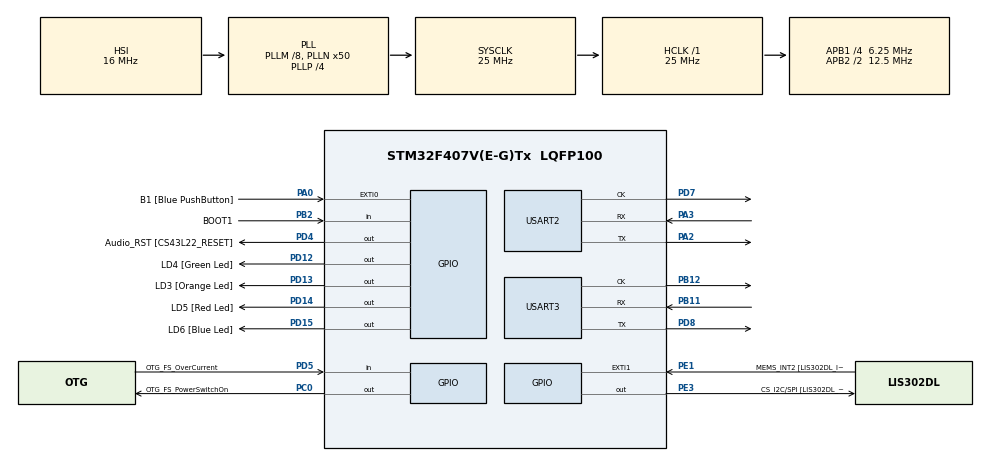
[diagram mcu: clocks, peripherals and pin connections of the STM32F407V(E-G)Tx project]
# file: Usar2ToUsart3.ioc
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Mcu.Family=STM32F4
Mcu.Name=STM32F407V(E-G)Tx
Mcu.Package=LQFP100
NVIC.PriorityGroup=NVIC_PRIORITYGROUP_0
PA0-WKUP.GPIO_Label=B1 [Blue PushButton]
PA0-WKUP.Signal=GPXTI0
PA10.GPIO_Label=OTG_FS_ID
PA10.GPIO_Mode=GPIO_MODE_AF_PP
PA10.GPIO_PuPd=GPIO_NOPULL
PA10.GPIO_Speed=GPIO_SPEED_FREQ_LOW
PA10.Signal=USB_OTG_FS_ID
PA11.GPIO_Label=OTG_FS_DM
PA11.GPIO_Mode=GPIO_MODE_AF_PP
PA11.GPIO_PuPd=GPIO_NOPULL
PA11.GPIO_Speed=GPIO_SPEED_FREQ_LOW
PA11.Signal=USB_OTG_FS_DM
PA12.GPIO_Label=OTG_FS_DP
PA12.GPIO_Mode=GPIO_MODE_AF_PP
PA12.GPIO_PuPd=GPIO_NOPULL
PA12.GPIO_Speed=GPIO_SPEED_FREQ_LOW
PA12.Signal=USB_OTG_FS_DP
PA13.GPIO_Label=SWDIO
PA13.Signal=SYS_JTMS-SWDIO
PA14.GPIO_Label=SWCLK
PA14.Signal=SYS_JTCK-SWCLK
PA2.Mode=Synchronous
PA2.Signal=USART2_TX
PA3.Mode=Synchronous
PA3.Signal=USART2_RX
PA4.GPIO_Label=I2S3_WS [CS43L22_LRCK]
PA4.GPIO_Mode=GPIO_MODE_AF_PP
PA4.GPIO_PuPd=GPIO_NOPULL
PA4.GPIO_Speed=GPIO_SPEED_FREQ_LOW
PA4.Signal=I2S3_WS
PA5.GPIO_Label=SPI1_SCK [LIS302DL_SCL/SPC]
PA5.GPIO_Mode=GPIO_MODE_AF_PP
PA5.GPIO_PuPd=GPIO_NOPULL
PA5.GPIO_Speed=GPIO_SPEED_FREQ_LOW
PA5.Signal=SPI1_SCK
PA6.GPIO_Label=SPI1_MISO [LIS302DL_SDO]
PA6.GPIO_Mode=GPIO_MODE_AF_PP
PA6.GPIO_PuPd=GPIO_NOPULL
PA6.GPIO_Speed=GPIO_SPEED_FREQ_LOW
PA6.Signal=SPI1_MISO
PA7.GPIO_Label=SPI1_MOSI [LIS302DL_SDA/SDI/SDO]
PA7.GPIO_Mode=GPIO_MODE_AF_PP
PA7.GPIO_PuPd=GPIO_NOPULL
PA7.GPIO_Speed=GPIO_SPEED_FREQ_LOW
PA7.Signal=SPI1_MOSI
PA9.GPIO_Label=VBUS_FS
PA9.GPIO_Mode=GPIO_MODE_INPUT
PA9.GPIO_PuPd=GPIO_NOPULL
PA9.Signal=USB_OTG_FS_VBUS
PB10.GPIO_Label=CLK_IN [MP45DT02_CLK]
PB10.GPIO_Mode=GPIO_MODE_AF_PP
PB10.GPIO_PuPd=GPIO_NOPULL
PB10.GPIO_Speed=GPIO_SPEED_FREQ_LOW
PB10.Signal=I2S2_CK
PB11.Mode=Synchronous
PB11.Signal=USART3_RX
PB12.Mode=Synchronous
PB12.Signal=USART3_CK
PB2.GPIO_Label=BOOT1
PB2.GPIO_Mode=GPIO_MODE_INPUT
PB2.GPIO_PuPd=GPIO_NOPULL
PB2.Signal=GPIO_Input
PB3.GPIO_Label=SWO
PB3.Signal=SYS_JTDO-SWO
PB6.GPIO_Label=Audio_SCL [CS43L22_SCL]
PB6.GPIO_Mode=GPIO_MODE_AF_OD
PB6.GPIO_PuPd=GPIO_NOPULL
PB6.GPIO_Speed=GPIO_SPEED_FREQ_LOW
PB6.Signal=I2C1_SCL
PB9.GPIO_Label=Audio_SDA [CS43L22_SDA]
PB9.GPIO_Mode=GPIO_MODE_AF_OD
PB9.GPIO_PuPd=GPIO_NOPULL
PB9.GPIO_Speed=GPIO_SPEED_FREQ_LOW
PB9.Signal=I2C1_SDA
PC0.GPIO_Label=OTG_FS_PowerSwitchOn
PC0.GPIO_PuPd=GPIO_NOPULL
PC0.GPIO_Speed=GPIO_SPEED_FREQ_LOW
PC0.PinState=GPIO_PIN_SET
PC0.Signal=GPIO_Output
PC10.GPIO_Label=I2S3_SCK [CS43L22_SCLK]
PC10.GPIO_Mode=GPIO_MODE_AF_PP
PC10.GPIO_PuPd=GPIO_NOPULL
PC10.GPIO_Speed=GPIO_SPEED_FREQ_LOW
PC10.Signal=I2S3_CK
PC12.GPIO_Label=I2S3_SD [CS43L22_SDIN]
PC12.GPIO_Mode=GPIO_MODE_AF_PP
PC12.GPIO_PuPd=GPIO_NOPULL
PC12.GPIO_Speed=GPIO_SPEED_FREQ_LOW
PC12.Signal=I2S3_SD
PC14-OSC32_IN.GPIO_Label=PC14-OSC32_IN
PC14-OSC32_IN.Signal=RCC_OSC32_IN
PC15-OSC32_OUT.GPIO_Label=PC15-OSC32_OUT
PC15-OSC32_OUT.Signal=RCC_OSC32_OUT
PC3.GPIO_Label=PDM_OUT [MP45DT02_DOUT]
PC3.GPIO_Mode=GPIO_MODE_AF_PP
PC3.GPIO_PuPd=GPIO_NOPULL
PC3.GPIO_Speed=GPIO_SPEED_FREQ_LOW
PC3.Signal=I2S2_SD
PC7.GPIO_Label=I2S3_MCK [CS43L22_MCLK]
PC7.GPIO_Mode=GPIO_MODE_AF_PP
PC7.GPIO_PuPd=GPIO_NOPULL
PC7.GPIO_Speed=GPIO_SPEED_FREQ_LOW
PC7.Signal=I2S3_MCK
PD12.GPIO_Label=LD4 [Green Led]
PD12.GPIO_PuPd=GPIO_NOPULL
PD12.GPIO_Speed=GPIO_SPEED_FREQ_LOW
PD12.Signal=GPIO_Output
PD13.GPIO_Label=LD3 [Orange Led]
PD13.GPIO_PuPd=GPIO_NOPULL
PD13.GPIO_Speed=GPIO_SPEED_FREQ_LOW
PD13.Signal=GPIO_Output
PD14.GPIO_Label=LD5 [Red Led]
PD14.GPIO_PuPd=GPIO_NOPULL
PD14.GPIO_Speed=GPIO_SPEED_FREQ_LOW
PD14.Signal=GPIO_Output
PD15.GPIO_Label=LD6 [Blue Led]
PD15.GPIO_PuPd=GPIO_NOPULL
PD15.GPIO_Speed=GPIO_SPEED_FREQ_LOW
PD15.Signal=GPIO_Output
PD4.GPIO_Label=Audio_RST [CS43L22_RESET]
PD4.GPIO_PuPd=GPIO_NOPULL
PD4.GPIO_Speed=GPIO_SPEED_FREQ_LOW
PD4.Signal=GPIO_Output
PD5.GPIO_Label=OTG_FS_OverCurrent
PD5.GPIO_Mode=GPIO_MODE_INPUT
PD5.GPIO_PuPd=GPIO_NOPULL
PD5.Signal=GPIO_Input
PD7.Mode=Synchronous
PD7.Signal=USART2_CK
PD8.Mode=Synchronous
PD8.Signal=USART3_TX
PE1.GPIO_Label=MEMS_INT2 [LIS302DL_INT2]
PE1.GPIO_ModeDefaultEXTI=GPIO_MODE_EVT_RISING
PE1.GPIO_PuPd=GPIO_NOPULL
PE1.Signal=GPXTI1
PE3.GPIO_Label=CS_I2C/SPI [LIS302DL_CS_I2C/SPI]
PE3.GPIO_PuPd=GPIO_NOPULL
PE3.GPIO_Speed=GPIO_SPEED_FREQ_LOW
PE3.Signal=GPIO_Output
PH0-OSC_IN.GPIO_Label=PH0-OSC_IN
PH0-OSC_IN.Signal=RCC_OSC_IN
PH1-OSC_OUT.GPIO_Label=PH1-OSC_OUT
PH1-OSC_OUT.Signal=RCC_OSC_OUT
ProjectManager.HeapSize=0x200
ProjectManager.StackSize=0x400
ProjectManager.TargetToolchain=MDK-ARM V5.32
RCC.48MHZClocksFreq_Value=14285714.285714285
RCC.AHBFreq_Value=25000000
RCC.APB1CLKDivider=RCC_HCLK_DIV4
RCC.APB1Freq_Value=6250000
RCC.APB1TimFreq_Value=12500000
RCC.APB2CLKDivider=RCC_HCLK_DIV2
RCC.APB2Freq_Value=12500000
RCC.APB2TimFreq_Value=25000000
RCC.CortexFreq_Value=25000000
RCC.HCLKFreq_Value=25000000
RCC.HSE_VALUE=8000000
RCC.HSI_VALUE=16000000
RCC.LSE_VALUE=32768
RCC.PLLM=8
RCC.PLLN=50
RCC.PLLP=RCC_PLLP_DIV4
RCC.PLLQ=7
RCC.SYSCLKFreq_VALUE=25000000
RCC.SYSCLKSource=RCC_SYSCLKSOURCE_PLLCLK
RCC.VCOOutputFreq_Value=100000000
USART2.VirtualMode=VM_SYNC
USART3.VirtualMode=VM_SYNC
board=STM32F407G-DISC1

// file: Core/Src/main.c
/* USER CODE BEGIN Header */
/**
  ******************************************************************************
  * @file           : main.c
  * @brief          : Main program body
  ******************************************************************************
  * @attention
  *
  * Copyright (c) 2024 STMicroelectronics.
  * All rights reserved.
  *
  * This software is licensed under terms that can be found in the LICENSE file
  * in the root directory of this software component.
  * If no LICENSE file comes with this software, it is provided AS-IS.
  *
  ******************************************************************************
  */
/* USER CODE END Header */
#include "main.h"

/* USER CODE BEGIN Includes */
#include "string.h"
/* USER CODE END Includes */

USART_HandleTypeDef husart2;
USART_HandleTypeDef husart3;
/* USER CODE BEGIN PV */
const uint32_t tbuf_size = 16;
char tbuf[tbuf_size];
volatile int tpos=-1;
uint8_t testNumber = 0;
/* USER CODE END PV */

void SystemClock_Config(void);
static void MX_GPIO_Init(void);
static void MX_USART2_Init(void);
static void MX_USART3_Init(void);
uint32_t send_str(const char *str);
void on_led_str(const char *str);
void USART2_SendString(const char *str);

/* USER CODE BEGIN 0 */
uint32_t send_str(const char *str) {

	if(tpos >= 0) {
		return 0;
	}
	uint32_t len = strlen(str);
	if(len >= tbuf_size)
	{
		len= tbuf_size-1;
		memcpy(tbuf, str, len);
		tbuf[len]=0;
		USART2->CR1 |= USART_CR1_TXEIE;
		return len-+1;
	}
}

void on_led_str(const char *str) {
		if(strcmp(str, "On Led") == 0) {
			HAL_GPIO_TogglePin(GPIOD, GPIO_PIN_15);
			//HAL_GPIO_WritePin(GPIOD, GPIO_PIN_15, GPIO_PIN_SET);
		} else {
			HAL_GPIO_WritePin(GPIOD, GPIO_PIN_15, GPIO_PIN_RESET);
		}
}

void USART2_IRQHandler() {
	const uint32_t rbuf_size=16;
	static char rbuf[rbuf_size];
	static uint32_t pos = 0;

	uint16_t sr=USART2->SR;

	if(sr & USART_SR_RXNE) { // if symbol input true
		rbuf[pos]= USART2->DR;
		if(pos==rbuf_size) {
				rbuf[pos] = 0;
		}
		if (rbuf[pos] == 0) {
			pos = 0;
			on_led_str(rbuf);
			// TODO func TX output sugnal
		} else {
			pos++;
		}
	}
//	if() {
//
//	}
}

void USART2_SendString(const char *str) {
	while(*str) {
		while(!(USART2->SR & USART_SR_TXE));
		USART2->DR = *str++;
	}
}
/* USER CODE END 0 */

int main(void)
{
  /* USER CODE BEGIN 1 */
	RCC->APB1ENR |= RCC_APB1ENR_USART2EN;
	USART2->CR1 = USART_CR1_UE;
	USART2->CR1 |= USART_CR1_TE;
	USART2->CR1 |= USART_CR1_TE | USART_CR1_RE | USART_CR1_RXNEIE;
  /* USER CODE END 1 */

  /* MCU Configuration--------------------------------------------------------*/

  /* Reset of all peripherals, Initializes the Flash interface and the Systick. */
  HAL_Init();

  /* Configure the system clock */
  SystemClock_Config();

  /* Initialize all configured peripherals */
  MX_GPIO_Init();
  MX_USART2_Init();
  MX_USART3_Init();
  /* USER CODE BEGIN 2 */
	//USART2_SendString("On Led");
	//USART2_IRQHandler();
  /* USER CODE END 2 */

  /* Infinite loop */
  /* USER CODE BEGIN WHILE */
  while (1)
  {
		while(!(USART2->SR & USART_SR_TXE));
		USART2->DR = 1;
    /* USER CODE END WHILE */

    /* USER CODE BEGIN 3 */
		testNumber = USART2->DR;
		if(testNumber == 1) {
			HAL_GPIO_WritePin(GPIOD, GPIO_PIN_13, GPIO_PIN_SET);
		}
		HAL_Delay(2000);
		HAL_GPIO_TogglePin(GPIOD, GPIO_PIN_12);
  }
  /* USER CODE END 3 */
}

void SystemClock_Config(void)
{
  RCC_OscInitTypeDef RCC_OscInitStruct = {0};
  RCC_ClkInitTypeDef RCC_ClkInitStruct = {0};

  /** Configure the main internal regulator output voltage
  */
  __HAL_RCC_PWR_CLK_ENABLE();
  __HAL_PWR_VOLTAGESCALING_CONFIG(PWR_REGULATOR_VOLTAGE_SCALE1);
  /** Initializes the RCC Oscillators according to the specified parameters
  * in the RCC_OscInitTypeDef structure.
  */
  RCC_OscInitStruct.OscillatorType = RCC_OSCILLATORTYPE_HSI;
  RCC_OscInitStruct.HSIState = RCC_HSI_ON;
  RCC_OscInitStruct.HSICalibrationValue = RCC_HSICALIBRATION_DEFAULT;
  RCC_OscInitStruct.PLL.PLLState = RCC_PLL_ON;
  RCC_OscInitStruct.PLL.PLLSource = RCC_PLLSOURCE_HSI;
  RCC_OscInitStruct.PLL.PLLM = 8;
  RCC_OscInitStruct.PLL.PLLN = 50;
  RCC_OscInitStruct.PLL.PLLP = RCC_PLLP_DIV4;
  RCC_OscInitStruct.PLL.PLLQ = 7;
  if (HAL_RCC_OscConfig(&RCC_OscInitStruct) != HAL_OK)
  {
    Error_Handler();
  }
  /** Initializes the CPU, AHB and APB buses clocks
  */
  RCC_ClkInitStruct.ClockType = RCC_CLOCKTYPE_HCLK|RCC_CLOCKTYPE_SYSCLK
                              |RCC_CLOCKTYPE_PCLK1|RCC_CLOCKTYPE_PCLK2;
  RCC_ClkInitStruct.SYSCLKSource = RCC_SYSCLKSOURCE_PLLCLK;
  RCC_ClkInitStruct.AHBCLKDivider = RCC_SYSCLK_DIV1;
  RCC_ClkInitStruct.APB1CLKDivider = RCC_HCLK_DIV4;
  RCC_ClkInitStruct.APB2CLKDivider = RCC_HCLK_DIV2;

  if (HAL_RCC_ClockConfig(&RCC_ClkInitStruct, FLASH_LATENCY_0) != HAL_OK)
  {
    Error_Handler();
  }
}

static void MX_USART2_Init(void)
{

  husart2.Instance = USART2;
  husart2.Init.BaudRate = 115200;
  husart2.Init.WordLength = USART_WORDLENGTH_8B;
  husart2.Init.StopBits = USART_STOPBITS_1;
  husart2.Init.Parity = USART_PARITY_NONE;
  husart2.Init.Mode = USART_MODE_TX_RX;
  husart2.Init.CLKPolarity = USART_POLARITY_LOW;
  husart2.Init.CLKPhase = USART_PHASE_1EDGE;
  husart2.Init.CLKLastBit = USART_LASTBIT_DISABLE;
  if (HAL_USART_Init(&husart2) != HAL_OK)
  {
    Error_Handler();
  }

}

static void MX_USART3_Init(void)
{

  husart3.Instance = USART3;
  husart3.Init.BaudRate = 115200;
  husart3.Init.WordLength = USART_WORDLENGTH_8B;
  husart3.Init.StopBits = USART_STOPBITS_1;
  husart3.Init.Parity = USART_PARITY_NONE;
  husart3.Init.Mode = USART_MODE_TX_RX;
  husart3.Init.CLKPolarity = USART_POLARITY_LOW;
  husart3.Init.CLKPhase = USART_PHASE_1EDGE;
  husart3.Init.CLKLastBit = USART_LASTBIT_DISABLE;
  if (HAL_USART_Init(&husart3) != HAL_OK)
  {
    Error_Handler();
  }

}

static void MX_GPIO_Init(void)
{
  GPIO_InitTypeDef GPIO_InitStruct = {0};

  /* GPIO Ports Clock Enable */
  __HAL_RCC_GPIOE_CLK_ENABLE();
  __HAL_RCC_GPIOC_CLK_ENABLE();
  __HAL_RCC_GPIOH_CLK_ENABLE();
  __HAL_RCC_GPIOA_CLK_ENABLE();
  __HAL_RCC_GPIOB_CLK_ENABLE();
  __HAL_RCC_GPIOD_CLK_ENABLE();

  /*Configure GPIO pin Output Level */
  HAL_GPIO_WritePin(CS_I2C_SPI_GPIO_Port, CS_I2C_SPI_Pin, GPIO_PIN_RESET);

  /*Configure GPIO pin Output Level */
  HAL_GPIO_WritePin(OTG_FS_PowerSwitchOn_GPIO_Port, OTG_FS_PowerSwitchOn_Pin, GPIO_PIN_SET);

  /*Configure GPIO pin Output Level */
  HAL_GPIO_WritePin(GPIOD, LD4_Pin|LD3_Pin|LD5_Pin|LD6_Pin
                          |Audio_RST_Pin, GPIO_PIN_RESET);

  /*Configure GPIO pin : CS_I2C_SPI_Pin */
  GPIO_InitStruct.Pin = CS_I2C_SPI_Pin;
  GPIO_InitStruct.Mode = GPIO_MODE_OUTPUT_PP;
  GPIO_InitStruct.Pull = GPIO_NOPULL;
  GPIO_InitStruct.Speed = GPIO_SPEED_FREQ_LOW;
  HAL_GPIO_Init(CS_I2C_SPI_GPIO_Port, &GPIO_InitStruct);

  /*Configure GPIO pin : OTG_FS_PowerSwitchOn_Pin */
  GPIO_InitStruct.Pin = OTG_FS_PowerSwitchOn_Pin;
  GPIO_InitStruct.Mode = GPIO_MODE_OUTPUT_PP;
  GPIO_InitStruct.Pull = GPIO_NOPULL;
  GPIO_InitStruct.Speed = GPIO_SPEED_FREQ_LOW;
  HAL_GPIO_Init(OTG_FS_PowerSwitchOn_GPIO_Port, &GPIO_InitStruct);

  /*Configure GPIO pin : PDM_OUT_Pin */
  GPIO_InitStruct.Pin = PDM_OUT_Pin;
  GPIO_InitStruct.Mode = GPIO_MODE_AF_PP;
  GPIO_InitStruct.Pull = GPIO_NOPULL;
  GPIO_InitStruct.Speed = GPIO_SPEED_FREQ_LOW;
  GPIO_InitStruct.Alternate = GPIO_AF5_SPI2;
  HAL_GPIO_Init(PDM_OUT_GPIO_Port, &GPIO_InitStruct);

  /*Configure GPIO pin : B1_Pin */
  GPIO_InitStruct.Pin = B1_Pin;
  GPIO_InitStruct.Mode = GPIO_MODE_IT_RISING;
  GPIO_InitStruct.Pull = GPIO_NOPULL;
  HAL_GPIO_Init(B1_GPIO_Port, &GPIO_InitStruct);

  /*Configure GPIO pin : I2S3_WS_Pin */
  GPIO_InitStruct.Pin = I2S3_WS_Pin;
  GPIO_InitStruct.Mode = GPIO_MODE_AF_PP;
  GPIO_InitStruct.Pull = GPIO_NOPULL;
  GPIO_InitStruct.Speed = GPIO_SPEED_FREQ_LOW;
  GPIO_InitStruct.Alternate = GPIO_AF6_SPI3;
  HAL_GPIO_Init(I2S3_WS_GPIO_Port, &GPIO_InitStruct);

  /*Configure GPIO pins : SPI1_SCK_Pin SPI1_MISO_Pin SPI1_MOSI_Pin */
  GPIO_InitStruct.Pin = SPI1_SCK_Pin|SPI1_MISO_Pin|SPI1_MOSI_Pin;
  GPIO_InitStruct.Mode = GPIO_MODE_AF_PP;
  GPIO_InitStruct.Pull = GPIO_NOPULL;
  GPIO_InitStruct.Speed = GPIO_SPEED_FREQ_LOW;
  GPIO_InitStruct.Alternate = GPIO_AF5_SPI1;
  HAL_GPIO_Init(GPIOA, &GPIO_InitStruct);

  /*Configure GPIO pin : BOOT1_Pin */
  GPIO_InitStruct.Pin = BOOT1_Pin;
  GPIO_InitStruct.Mode = GPIO_MODE_INPUT;
  GPIO_InitStruct.Pull = GPIO_NOPULL;
  HAL_GPIO_Init(BOOT1_GPIO_Port, &GPIO_InitStruct);

  /*Configure GPIO pin : CLK_IN_Pin */
  GPIO_InitStruct.Pin = CLK_IN_Pin;
  GPIO_InitStruct.Mode = GPIO_MODE_AF_PP;
  GPIO_InitStruct.Pull = GPIO_NOPULL;
  GPIO_InitStruct.Speed = GPIO_SPEED_FREQ_LOW;
  GPIO_InitStruct.Alternate = GPIO_AF5_SPI2;
  HAL_GPIO_Init(CLK_IN_GPIO_Port, &GPIO_InitStruct);

  /*Configure GPIO pins : LD4_Pin LD3_Pin LD5_Pin LD6_Pin
                           Audio_RST_Pin */
  GPIO_InitStruct.Pin = LD4_Pin|LD3_Pin|LD5_Pin|LD6_Pin
                          |Audio_RST_Pin;
  GPIO_InitStruct.Mode = GPIO_MODE_OUTPUT_PP;
  GPIO_InitStruct.Pull = GPIO_NOPULL;
  GPIO_InitStruct.Speed = GPIO_SPEED_FREQ_LOW;
  HAL_GPIO_Init(GPIOD, &GPIO_InitStruct);

  /*Configure GPIO pins : I2S3_MCK_Pin I2S3_SCK_Pin I2S3_SD_Pin */
  GPIO_InitStruct.Pin = I2S3_MCK_Pin|I2S3_SCK_Pin|I2S3_SD_Pin;
  GPIO_InitStruct.Mode = GPIO_MODE_AF_PP;
  GPIO_InitStruct.Pull = GPIO_NOPULL;
  GPIO_InitStruct.Speed = GPIO_SPEED_FREQ_LOW;
  GPIO_InitStruct.Alternate = GPIO_AF6_SPI3;
  HAL_GPIO_Init(GPIOC, &GPIO_InitStruct);

  /*Configure GPIO pin : VBUS_FS_Pin */
  GPIO_InitStruct.Pin = VBUS_FS_Pin;
  GPIO_InitStruct.Mode = GPIO_MODE_INPUT;
  GPIO_InitStruct.Pull = GPIO_NOPULL;
  HAL_GPIO_Init(VBUS_FS_GPIO_Port, &GPIO_InitStruct);

  /*Configure GPIO pins : OTG_FS_ID_Pin OTG_FS_DM_Pin OTG_FS_DP_Pin */
  GPIO_InitStruct.Pin = OTG_FS_ID_Pin|OTG_FS_DM_Pin|OTG_FS_DP_Pin;
  GPIO_InitStruct.Mode = GPIO_MODE_AF_PP;
  GPIO_InitStruct.Pull = GPIO_NOPULL;
  GPIO_InitStruct.Speed = GPIO_SPEED_FREQ_LOW;
  GPIO_InitStruct.Alternate = GPIO_AF10_OTG_FS;
  HAL_GPIO_Init(GPIOA, &GPIO_InitStruct);

  /*Configure GPIO pin : OTG_FS_OverCurrent_Pin */
  GPIO_InitStruct.Pin = OTG_FS_OverCurrent_Pin;
  GPIO_InitStruct.Mode = GPIO_MODE_INPUT;
  GPIO_InitStruct.Pull = GPIO_NOPULL;
  HAL_GPIO_Init(OTG_FS_OverCurrent_GPIO_Port, &GPIO_InitStruct);

  /*Configure GPIO pins : Audio_SCL_Pin Audio_SDA_Pin */
  GPIO_InitStruct.Pin = Audio_SCL_Pin|Audio_SDA_Pin;
  GPIO_InitStruct.Mode = GPIO_MODE_AF_OD;
  GPIO_InitStruct.Pull = GPIO_NOPULL;
  GPIO_InitStruct.Speed = GPIO_SPEED_FREQ_LOW;
  GPIO_InitStruct.Alternate = GPIO_AF4_I2C1;
  HAL_GPIO_Init(GPIOB, &GPIO_InitStruct);

  /*Configure GPIO pin : MEMS_INT2_Pin */
  GPIO_InitStruct.Pin = MEMS_INT2_Pin;
  GPIO_InitStruct.Mode = GPIO_MODE_EVT_RISING;
  GPIO_InitStruct.Pull = GPIO_NOPULL;
  HAL_GPIO_Init(MEMS_INT2_GPIO_Port, &GPIO_InitStruct);

}

void Error_Handler(void)
{
  __disable_irq();
  while (1)
  {
  }
}
